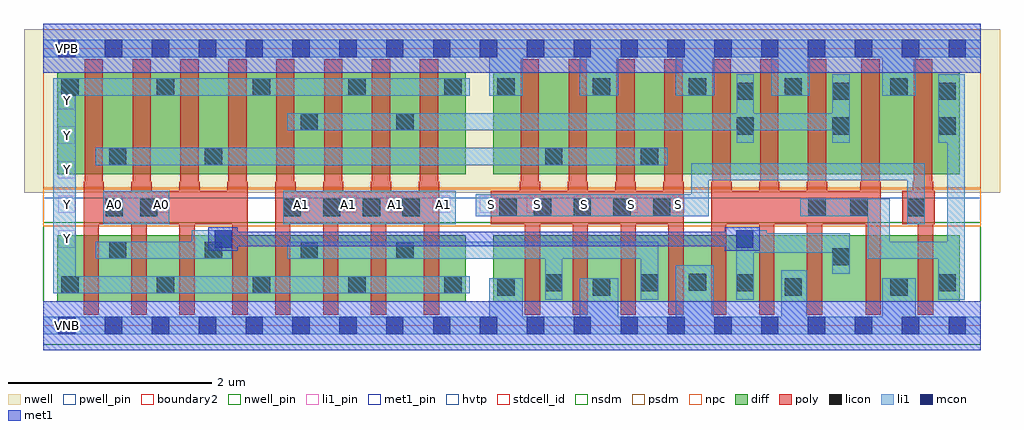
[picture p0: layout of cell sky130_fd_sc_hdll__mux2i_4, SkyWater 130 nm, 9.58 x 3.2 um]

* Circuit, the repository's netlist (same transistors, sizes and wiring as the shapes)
* Copyright 2020 The SkyWater PDK Authors
*
* Licensed under the Apache License, Version 2.0 (the "License");
* you may not use this file except in compliance with the License.
* You may obtain a copy of the License at
*
*     https://www.apache.org/licenses/LICENSE-2.0
*
* Unless required by applicable law or agreed to in writing, software
* distributed under the License is distributed on an "AS IS" BASIS,
* WITHOUT WARRANTIES OR CONDITIONS OF ANY KIND, either express or implied.
* See the License for the specific language governing permissions and
* limitations under the License.
*
* SPDX-License-Identifier: Apache-2.0

.SUBCKT sky130_fd_sc_hdll__mux2i_4 A0 A1 S VGND VNB VPB VPWR Y
*.PININFO A0:I A1:I S:I VGND:I VNB:I VPB:I VPWR:I Y:O
MMNA00 Y A0 smdNA0 VNB sky130_fd_pr__nfet_01v8 m=4 w=0.65U l=0.15U mult=1 sa=0.265
+ sb=0.265 sd=0.28 area=0.063 perim=1.14
MMNA01 smdNA0 Sb VGND VNB sky130_fd_pr__nfet_01v8 m=4 w=0.65U l=0.15U mult=1 sa=0.265
+ sb=0.265 sd=0.28 area=0.063 perim=1.14
MMNA10 Y A1 sndNA1 VNB sky130_fd_pr__nfet_01v8 m=4 w=0.65U l=0.15U mult=1 sa=0.265
+ sb=0.265 sd=0.28 area=0.063 perim=1.14
MMNA11 sndNA1 S VGND VNB sky130_fd_pr__nfet_01v8 m=4 w=0.65U l=0.15U mult=1 sa=0.265
+ sb=0.265 sd=0.28 area=0.063 perim=1.14
MMIN1 Sb S VGND VNB sky130_fd_pr__nfet_01v8 m=1 w=0.65U l=0.15U mult=1 sa=0.265
+ sb=0.265 sd=0.28 area=0.063 perim=1.14
MMPA00 VPWR S sndPS VPB sky130_fd_pr__pfet_01v8_hvt m=4 w=1.0U l=0.18U mult=1 sa=0.265
+ sb=0.265 sd=0.28 area=0.063 perim=1.14
MMPA01 sndPS A0 Y VPB sky130_fd_pr__pfet_01v8_hvt m=4 w=1.0U l=0.18U mult=1 sa=0.265
+ sb=0.265 sd=0.28 area=0.063 perim=1.14
MMPA10 VPWR Sb sndPSb VPB sky130_fd_pr__pfet_01v8_hvt m=4 w=1.0U l=0.18U mult=1
+ sa=0.265 sb=0.265 sd=0.28 area=0.063 perim=1.14
MMPA11 sndPSb A1 Y VPB sky130_fd_pr__pfet_01v8_hvt m=4 w=1.0U l=0.18U mult=1 sa=0.265
+ sb=0.265 sd=0.28 area=0.063 perim=1.14
MMIP1 Sb S VPWR VPB sky130_fd_pr__pfet_01v8_hvt m=1 w=1.0U l=0.18U mult=1 sa=0.265
+ sb=0.265 sd=0.28 area=0.063 perim=1.14
.ENDS sky130_fd_sc_hdll__mux2i_4

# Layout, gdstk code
import gdstk
lib = gdstk.Library(unit=1e-6, precision=1e-09)
def R(c, l, rs):  # rectangles x0, y0, x1, y1
    for r in rs: c.add(gdstk.rectangle(r[:2], r[2:], *l))
def A(c, l, x, y, w, h, nx, ny, dx, dy):  # array of equal rectangles
    R(c, l, [(x+i*dx, y+j*dy, x+i*dx+w, y+j*dy+h) for i in range(nx) for j in range(ny)])
def P(c, l, *ps):  # polygons
    for p in ps: c.add(gdstk.Polygon(p, *l))
nwell_pin = (64, 16)
nwell = (64, 20)
diff = (65, 20)
poly = (66, 20)
licon = (66, 44)
li1_pin = (67, 16)
li1 = (67, 20)
mcon = (67, 44)
met1_pin = (68, 16)
met1 = (68, 20)
hvtp = (78, 44)
stdcell_id = (81, 4)
nsdm = (93, 44)
psdm = (94, 20)
npc = (95, 20)
pwell_pin = (122, 16)
boundary2 = (236, 0)

sky130_fd_sc_hdll__mux2i = lib.new_cell('sky130_fd_sc_hdll__mux2i_4')
R(sky130_fd_sc_hdll__mux2i, nwell_pin, [(0.15,2.635,0.32,2.805)])
R(sky130_fd_sc_hdll__mux2i, nwell, [(-0.19,1.305,9.39,2.91)])
R(sky130_fd_sc_hdll__mux2i, diff, [(0.135,0.235,4.145,0.885), (4.415,0.235,8.995,0.885), (0.135,1.485,4.145,2.485), (4.415,1.485,8.995,2.485)])
P(sky130_fd_sc_hdll__mux2i, poly, [(2.005,1.41),(1.995,1.41),(1.995,2.615),(1.815,2.615),(1.815,1.41),(1.805,1.41),(1.805,1.325),(1.535,1.325),(1.535,1.41),(1.525,1.41),(1.525,2.615),(1.345,2.615),(1.345,1.41),(1.335,1.41),(1.335,1.325),(1.065,1.325),(1.065,1.41),(1.055,1.41),(1.055,2.615),(0.875,2.615),(0.875,1.41),(0.865,1.41),(0.865,1.325),(0.595,1.325),(0.595,1.41),(0.585,1.41),(0.585,2.615),(0.405,2.615),(0.405,1.41),(0.395,1.41),(0.395,0.105),(0.545,0.105),(0.545,0.995),(0.865,0.995),(0.865,0.105),(1.015,0.105),(1.015,0.995),(1.335,0.995),(1.335,0.105),(1.485,0.105),(1.485,0.995),(1.855,0.995),(1.855,0.105),(2.005,0.105)],
  [(3.885,1.41),(3.875,1.41),(3.875,2.615),(3.695,2.615),(3.695,1.41),(3.685,1.41),(3.685,1.325),(3.415,1.325),(3.415,1.41),(3.405,1.41),(3.405,2.615),(3.225,2.615),(3.225,1.41),(3.215,1.41),(3.215,1.325),(2.945,1.325),(2.945,1.41),(2.935,1.41),(2.935,2.615),(2.755,2.615),(2.755,1.41),(2.745,1.41),(2.745,1.325),(2.475,1.325),(2.475,1.41),(2.465,1.41),(2.465,2.615),(2.285,2.615),(2.285,1.41),(2.275,1.41),(2.275,0.105),(2.425,0.105),(2.425,0.995),(2.745,0.995),(2.745,0.105),(2.895,0.105),(2.895,0.995),(3.215,0.995),(3.215,0.105),(3.365,0.105),(3.365,0.995),(3.735,0.995),(3.735,0.105),(3.885,0.105)],
  [(6.285,1.41),(6.275,1.41),(6.275,2.615),(6.095,2.615),(6.095,1.41),(6.085,1.41),(6.085,1.325),(5.815,1.325),(5.815,1.41),(5.805,1.41),(5.805,2.615),(5.625,2.615),(5.625,1.41),(5.615,1.41),(5.615,1.325),(5.345,1.325),(5.345,1.41),(5.335,1.41),(5.335,2.615),(5.155,2.615),(5.155,1.41),(5.145,1.41),(5.145,1.325),(4.875,1.325),(4.875,1.41),(4.865,1.41),(4.865,2.615),(4.685,2.615),(4.685,1.41),(4.675,1.41),(4.675,1.325),(4.39,1.325),(4.39,0.995),(4.725,0.995),(4.725,0.105),(4.875,0.105),(4.875,0.995),(5.195,0.995),(5.195,0.105),(5.345,0.105),(5.345,0.995),(5.665,0.995),(5.665,0.105),(5.815,0.105),(5.815,0.995),(6.135,0.995),(6.135,0.105),(6.285,0.105)],
  [(8.22,1.41),(8.21,1.41),(8.21,2.615),(8.03,2.615),(8.03,1.41),(8.02,1.41),(8.02,1.325),(7.695,1.325),(7.695,1.41),(7.685,1.41),(7.685,2.615),(7.505,2.615),(7.505,1.41),(7.495,1.41),(7.495,1.325),(7.225,1.325),(7.225,1.41),(7.215,1.41),(7.215,2.615),(7.035,2.615),(7.035,1.41),(7.025,1.41),(7.025,1.325),(6.755,1.325),(6.755,1.41),(6.745,1.41),(6.745,2.615),(6.565,2.615),(6.565,1.41),(6.555,1.41),(6.555,0.105),(6.705,0.105),(6.705,0.995),(7.025,0.995),(7.025,0.105),(7.175,0.105),(7.175,0.995),(7.495,0.995),(7.495,0.105),(7.645,0.105),(7.645,0.995),(8.07,0.995),(8.07,0.105),(8.22,0.105)],
  [(8.75,1.325),(8.735,1.325),(8.735,1.41),(8.725,1.41),(8.725,2.615),(8.545,2.615),(8.545,1.41),(8.535,1.41),(8.535,1.325),(8.43,1.325),(8.43,0.995),(8.585,0.995),(8.585,0.105),(8.735,0.105),(8.735,0.995),(8.75,0.995)])
A(sky130_fd_sc_hdll__mux2i, licon, 0.175, 0.315, 0.17, 0.17, 5, 2, 0.94, 1.94)
A(sky130_fd_sc_hdll__mux2i, licon, 4.925, 0.335, 0.17, 0.17, 3, 1, 0.94, 0)
A(sky130_fd_sc_hdll__mux2i, licon, 0.645, 0.655, 0.17, 0.17, 4, 1, 0.94, 0)
A(sky130_fd_sc_hdll__mux2i, licon, 2.355, 1.075, 0.17, 0.17, 4, 1, 0.39, 0)
A(sky130_fd_sc_hdll__mux2i, licon, 4.815, 1.075, 0.17, 0.17, 4, 1, 0.39, 0)
A(sky130_fd_sc_hdll__mux2i, licon, 4.455, 2.255, 0.17, 0.17, 4, 1, 0.94, 0)
R(sky130_fd_sc_hdll__mux2i, licon, [(4.455,0.295,4.625,0.465), (5.395,0.295,5.565,0.465), (7.275,0.295,7.445,0.465), (8.315,0.295,8.485,0.465), (8.785,0.335,8.955,0.505), (6.335,0.34,6.505,0.51), (7.745,0.59,7.915,0.76), (0.61,1.075,0.78,1.245), (0.95,1.075,1.12,1.245), (4.475,1.075,4.645,1.245), (7.51,1.075,7.68,1.245), (7.92,1.075,8.09,1.245), (8.48,1.075,8.65,1.245), (0.645,1.575,0.815,1.745), (1.585,1.575,1.755,1.745), (4.925,1.575,5.095,1.745), (5.865,1.575,6.035,1.745), (6.805,1.875,6.975,2.045), (7.745,1.875,7.915,2.045), (8.785,1.875,8.955,2.045), (2.525,1.915,2.695,2.085), (3.465,1.915,3.635,2.085), (6.805,2.215,6.975,2.385), (7.745,2.215,7.915,2.385), (8.785,2.215,8.955,2.385), (8.315,2.255,8.485,2.425)])
A(sky130_fd_sc_hdll__mux2i, li1_pin, 0.145, 1.105, 0.17, 0.17, 3, 1, 0.46, 0)
A(sky130_fd_sc_hdll__mux2i, li1_pin, 2.445, 1.105, 0.17, 0.17, 3, 1, 0.46, 0)
A(sky130_fd_sc_hdll__mux2i, li1_pin, 4.285, 1.105, 0.17, 0.17, 5, 1, 0.46, 0)
A(sky130_fd_sc_hdll__mux2i, li1_pin, 0.145, 1.445, 0.17, 0.17, 1, 3, 0, 0.34)
R(sky130_fd_sc_hdll__mux2i, li1_pin, [(0.145,0.765,0.315,0.935), (3.82,1.105,3.995,1.275)])
R(sky130_fd_sc_hdll__mux2i, li1, [(0.59,0.995,1.235,1.325), (2.355,0.995,4.05,1.325), (0.515,1.575,6.13,1.745)])
P(sky130_fd_sc_hdll__mux2i, li1, [(9.045,2.465),(8.785,2.465),(8.785,1.795),(8.87,1.795),(8.87,0.825),(8.31,0.825),(8.31,1.245),(7.43,1.245),(7.43,1.075),(8.09,1.075),(8.09,0.655),(8.785,0.655),(8.785,0.255),(9.045,0.255)],
  [(8.65,1.595),(6.36,1.595),(6.36,1.29),(4.245,1.29),(4.245,1.075),(6.53,1.075),(6.53,1.425),(8.48,1.425),(8.48,0.995),(8.65,0.995)],
  [(1.85,0.935),(1.455,0.935),(1.455,0.825),(0.515,0.825),(0.515,0.655),(1.85,0.655)],
  [(9.2,2.805),(0,2.805),(0,2.635),(4.375,2.635),(4.375,2.255),(4.705,2.255),(4.705,2.635),(5.265,2.635),(5.265,2.255),(5.645,2.255),(5.645,2.635),(6.205,2.635),(6.205,2.255),(6.585,2.255),(6.585,2.635),(7.145,2.635),(7.145,2.255),(7.525,2.255),(7.525,2.635),(8.235,2.635),(8.235,2.255),(8.565,2.255),(8.565,2.635),(9.2,2.635)],
  [(7.915,0.905),(7.1,0.905),(7.1,0.935),(6.8,0.935),(6.8,0.255),(6.975,0.255),(6.975,0.715),(7.745,0.715),(7.745,0.51),(7.915,0.51)],
  [(4.185,0.485),(0.32,0.485),(0.32,2.255),(4.185,2.255),(4.185,2.425),(0.095,2.425),(0.095,0.315),(4.185,0.315)],
  [(6.035,0.825),(2.395,0.825),(2.395,0.655),(4.925,0.655),(4.925,0.255),(5.095,0.255),(5.095,0.655),(5.865,0.655),(5.865,0.255),(6.035,0.255)],
  [(9.2,0.085),(8.565,0.085),(8.565,0.465),(8.235,0.465),(8.235,0.085),(7.495,0.085),(7.495,0.545),(7.245,0.545),(7.245,0.085),(6.58,0.085),(6.58,0.59),(6.205,0.59),(6.205,0.085),(5.645,0.085),(5.645,0.465),(5.265,0.465),(5.265,0.085),(4.705,0.085),(4.705,0.465),(4.375,0.465),(4.375,0.085),(0,0.085),(0,-0.085),(9.2,-0.085)],
  [(7.915,2.465),(7.745,2.465),(7.745,2.085),(6.975,2.085),(6.975,2.465),(6.805,2.465),(6.805,2.085),(2.395,2.085),(2.395,1.915),(6.805,1.915),(6.805,1.795),(6.975,1.795),(6.975,1.915),(7.745,1.915),(7.745,1.795),(7.915,1.795)])
A(sky130_fd_sc_hdll__mux2i, mcon, 0.145, -0.085, 0.17, 0.17, 20, 2, 0.46, 2.72)
R(sky130_fd_sc_hdll__mux2i, mcon, [(1.68,0.765,1.85,0.935), (6.8,0.765,6.97,0.935)])
R(sky130_fd_sc_hdll__mux2i, met1_pin, [(0.15,-0.085,0.32,0.085), (0.15,2.635,0.32,2.805)])
R(sky130_fd_sc_hdll__mux2i, met1, [(0,-0.24,9.2,0.24), (0,2.48,9.2,2.96)])
P(sky130_fd_sc_hdll__mux2i, met1, [(7.03,0.965),(6.69,0.965),(6.69,0.92),(1.91,0.92),(1.91,0.965),(1.62,0.965),(1.62,0.735),(1.91,0.735),(1.91,0.78),(6.69,0.78),(6.69,0.735),(7.03,0.735)])
R(sky130_fd_sc_hdll__mux2i, hvtp, [(0,1.25,9.2,2.72)])
R(sky130_fd_sc_hdll__mux2i, stdcell_id, [(0,0,9.2,2.72)])
R(sky130_fd_sc_hdll__mux2i, nsdm, [(0,-0.19,9.2,1.015)])
R(sky130_fd_sc_hdll__mux2i, psdm, [(0,1.355,9.2,2.91)])
R(sky130_fd_sc_hdll__mux2i, npc, [(0,0.975,9.2,1.345)])
R(sky130_fd_sc_hdll__mux2i, pwell_pin, [(0.15,-0.085,0.32,0.085)])
R(sky130_fd_sc_hdll__mux2i, boundary2, [(0,0,9.2,2.72)])
sky130_fd_sc_hdll__mux2i.add(gdstk.Label('S', (5.315,1.19), layer=67, texttype=5))
sky130_fd_sc_hdll__mux2i.add(gdstk.Label('S', (4.855,1.19), layer=67, texttype=5))
sky130_fd_sc_hdll__mux2i.add(gdstk.Label('S', (4.395,1.19), layer=67, texttype=5))
sky130_fd_sc_hdll__mux2i.add(gdstk.Label('S', (6.23,1.19), layer=67, texttype=5))
sky130_fd_sc_hdll__mux2i.add(gdstk.Label('A1', (2.995,1.19), layer=67, texttype=5))
sky130_fd_sc_hdll__mux2i.add(gdstk.Label('A1', (2.535,1.19), layer=67, texttype=5))
sky130_fd_sc_hdll__mux2i.add(gdstk.Label('A1', (3.925,1.19), layer=67, texttype=5))
sky130_fd_sc_hdll__mux2i.add(gdstk.Label('S', (5.775,1.19), layer=67, texttype=5))
sky130_fd_sc_hdll__mux2i.add(gdstk.Label('A0', (1.155,1.19), layer=67, texttype=5))
sky130_fd_sc_hdll__mux2i.add(gdstk.Label('A0', (0.695,1.19), layer=67, texttype=5))
sky130_fd_sc_hdll__mux2i.add(gdstk.Label('Y', (0.235,2.21), layer=67, texttype=5))
sky130_fd_sc_hdll__mux2i.add(gdstk.Label('Y', (0.235,0.85), layer=67, texttype=5))
sky130_fd_sc_hdll__mux2i.add(gdstk.Label('Y', (0.235,1.53), layer=67, texttype=5))
sky130_fd_sc_hdll__mux2i.add(gdstk.Label('Y', (0.235,1.87), layer=67, texttype=5))
sky130_fd_sc_hdll__mux2i.add(gdstk.Label('Y', (0.235,1.19), layer=67, texttype=5))
sky130_fd_sc_hdll__mux2i.add(gdstk.Label('A1', (3.455,1.19), layer=67, texttype=5))
sky130_fd_sc_hdll__mux2i.add(gdstk.Label('VNB', (0.235,0), layer=64, texttype=59))
sky130_fd_sc_hdll__mux2i.add(gdstk.Label('VPB', (0.235,2.72), layer=64, texttype=5))
sky130_fd_sc_hdll__mux2i.add(gdstk.Label('VGND', (0.235,0), layer=68, texttype=5))
sky130_fd_sc_hdll__mux2i.add(gdstk.Label('VPWR', (0.235,2.72), layer=68, texttype=5))
sky130_fd_sc_hdll__mux2i.add(gdstk.Label('mux2i_4', (0,0), layer=83, texttype=44))

lib.write_gds('sky130_fd_sc_hdll__mux2i_4.gds')
